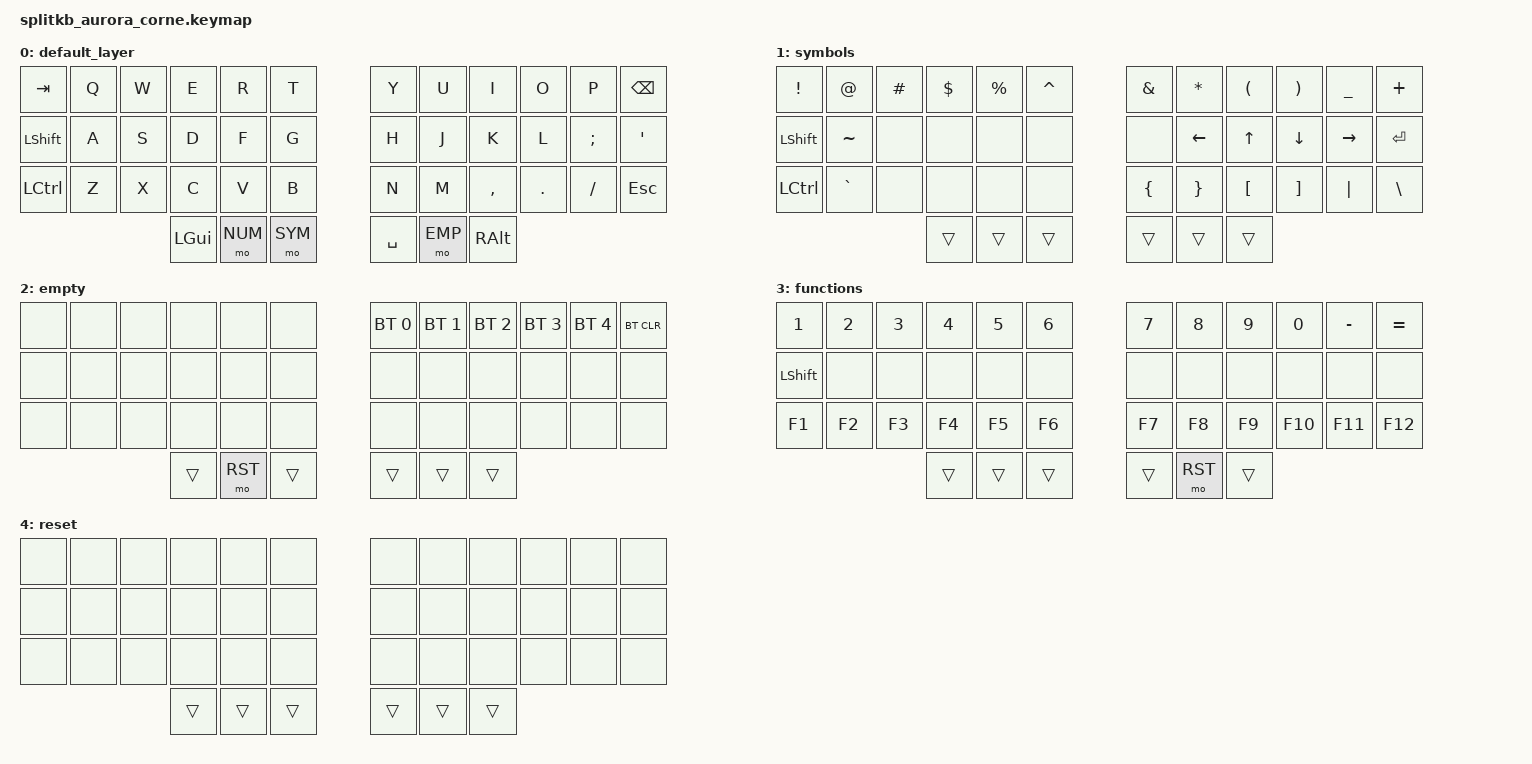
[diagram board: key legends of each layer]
/*
 * Copyright (c) 2020 The ZMK Contributors
 *
 * SPDX-License-Identifier: MIT
 */

#include <behaviors.dtsi>
#include <dt-bindings/zmk/keys.h>
#include <dt-bindings/zmk/bt.h>

// Layers
#define QWE 0
#define SYM 1
#define EMP 2
#define NUM 3
#define RST 4

#define XXX &none
#define ___ &trans
#define VVV &trans

/ {

  keymap {
    compatible = "zmk,keymap";

    default_layer {
      bindings = <
        //  ╭──────────────┬──────────────┬──────────────┬──────────────┬──────────────┬──────────────╮   ╭──────────────┬─────────────┬──────────────┬──────────────┬─────────────┬──────────────╮
                &kp TAB         &kp Q          &kp W         &kp E          &kp R          &kp T              &kp Y          &kp U         &kp I          &kp O          &kp P         &kp BSPC
        //  ├──────────────┬──────────────┬──────────────┬──────────────┬──────────────┬──────────────┤   ├──────────────┬─────────────┬──────────────┬──────────────┬─────────────┬──────────────┤
                &kp LSHFT       &kp A          &kp S         &kp D          &kp F          &kp G              &kp H          &kp J         &kp K          &kp L          &kp SEMI      &kp SQT
        //  ├──────────────┬──────────────┬──────────────┬──────────────┬──────────────┬──────────────┤   ├──────────────┬─────────────┬──────────────┬──────────────┬─────────────┬──────────────┤
                &kp LCTRL       &kp Z          &kp X         &kp C          &kp V          &kp B              &kp N          &kp M         &kp COMMA      &kp DOT        &kp SLASH     &kp ESC
        //  ╰────────────────────────────────────────────┬──────────────┬──────────────┬──────────────┤   ├──────────────┬─────────────┬──────────────┬───────────────────────────────────────────╯
                                                             &kp LGUI       &mo NUM        &mo SYM            &kp SPACE      &mo EMP       &kp RALT
        //                                               ╰────────────────────────────────────────────╯   ╰───────────────────────────────────────────╯
      >;    
    };

    symbols {
      bindings = <
        //  ╭──────────────┬──────────────┬──────────────┬──────────────┬──────────────┬──────────────╮   ╭──────────────┬─────────────┬──────────────┬──────────────┬─────────────┬──────────────╮
                &kp EXCL        &kp AT        &kp HASH       &kp DLLR      &kp PRCNT      &kp CARET          &kp AMPS       &kp ASTRK      &kp LPAR       &kp RPAR       &kp UNDER     &kp PLUS
        //  ├──────────────┬──────────────┬──────────────┬──────────────┬──────────────┬──────────────┤   ├──────────────┬─────────────┬──────────────┬──────────────┬─────────────┬──────────────┤
                &kp LSHFT     &kp TILDE         XXX            XXX            XXX            XXX                XXX          &kp LEFT      &kp UP         &kp DOWN       &kp RIGHT     &kp RET
        //  ├──────────────┬──────────────┬──────────────┬──────────────┬──────────────┬──────────────┤   ├──────────────┬─────────────┬──────────────┬──────────────┬─────────────┬──────────────┤
                &kp LCTRL     &kp GRAVE         XXX            XXX            XXX            XXX              &kp LBRC       &kp RBRC      &kp LBKT      &kp RBKT       &kp PIPE      &kp BSLH
        //  ╰────────────────────────────────────────────┬──────────────┬──────────────┬──────────────┤   ├──────────────┬─────────────┬──────────────┬───────────────────────────────────────────╯
                                                               ___            ___            VVV                ___            ___            ___
        //                                               ╰────────────────────────────────────────────╯   ╰───────────────────────────────────────────╯
      >;    
    };

    empty {
      bindings = <
        //  ╭──────────────┬──────────────┬──────────────┬──────────────┬──────────────┬──────────────╮   ╭──────────────┬─────────────┬──────────────┬──────────────┬─────────────┬──────────────╮
                  XXX           XXX             XXX            XXX            XXX            XXX            &bt BT_SEL 0   &bt BT_SEL 1  &bt BT_SEL 2   &bt BT_SEL 3   &bt BT_SEL 4   &bt BT_CLR 
        //  ├──────────────┬──────────────┬──────────────┬──────────────┬──────────────┬──────────────┤   ├──────────────┬─────────────┬──────────────┬──────────────┬─────────────┬──────────────┤
                  XXX           XXX             XXX            XXX            XXX            XXX                XXX           XXX             XXX            XXX          XXX            XXX
        //  ├──────────────┬──────────────┬──────────────┬──────────────┬──────────────┬──────────────┤   ├──────────────┬─────────────┬──────────────┬──────────────┬─────────────┬──────────────┤
                  XXX           XXX             XXX            XXX            XXX            XXX                XXX           XXX             XXX            XXX          XXX            XXX
        //  ╰────────────────────────────────────────────┬──────────────┬──────────────┬──────────────┤   ├──────────────┬─────────────┬──────────────┬───────────────────────────────────────────╯
                                                               ___            &mo RST        ___                ___           VVV             ___
        //                                               ╰────────────────────────────────────────────╯   ╰───────────────────────────────────────────╯
      >;    
    };

    functions {
      bindings = <
        //  ╭──────────────┬──────────────┬──────────────┬──────────────┬──────────────┬──────────────╮   ╭──────────────┬─────────────┬──────────────┬──────────────┬─────────────┬──────────────╮
                &kp N1          &kp N2          &kp N3         &kp N4         &kp N5         &kp N6             &kp N7        &kp N8          &kp N9        &kp N0      &kp MINUS      &kp EQUAL
        //  ├──────────────┬──────────────┬──────────────┬──────────────┬──────────────┬──────────────┤   ├──────────────┬─────────────┬──────────────┬──────────────┬─────────────┬──────────────┤
                &kp LSHFT        XXX             XXX            XXX            XXX            XXX                XXX           XXX             XXX           XXX           XXX           XXX
        //  ├──────────────┬──────────────┬──────────────┬──────────────┬──────────────┬──────────────┤   ├──────────────┬─────────────┬──────────────┬──────────────┬─────────────┬──────────────┤
                &kp F1          &kp F2          &kp F3         &kp F4         &kp F5         &kp F6             &kp F7        &kp F8          &kp F9        &kp F10      &kp F11      &kp F12
        //  ╰────────────────────────────────────────────┬──────────────┬──────────────┬──────────────┤   ├──────────────┬─────────────┬──────────────┬───────────────────────────────────────────╯
                                                                 ___          VVV            ___                ___          &mo RST         ___
        //                                               ╰────────────────────────────────────────────╯   ╰───────────────────────────────────────────╯
      >;    
    };

    reset {
      bindings = <
        //  ╭──────────────┬──────────────┬──────────────┬──────────────┬──────────────┬──────────────╮   ╭──────────────┬─────────────┬──────────────┬──────────────┬─────────────┬──────────────╮
                  XXX           XXX             XXX            XXX            XXX            XXX                XXX           XXX             XXX            XXX          XXX            XXX
        //  ├──────────────┬──────────────┬──────────────┬──────────────┬──────────────┬──────────────┤   ├──────────────┬─────────────┬──────────────┬──────────────┬─────────────┬──────────────┤
                  XXX           XXX             XXX            XXX            XXX            XXX                XXX           XXX             XXX            XXX          XXX            XXX
        //  ├──────────────┬──────────────┬──────────────┬──────────────┬──────────────┬──────────────┤   ├──────────────┬─────────────┬──────────────┬──────────────┬─────────────┬──────────────┤
                  XXX           XXX             XXX            XXX            XXX            XXX                XXX           XXX             XXX            XXX          XXX            XXX
        //  ╰────────────────────────────────────────────┬──────────────┬──────────────┬──────────────┤   ├──────────────┬─────────────┬──────────────┬───────────────────────────────────────────╯
                                                               ___            VVV            ___                 ___          VVV             ___
        //                                               ╰────────────────────────────────────────────╯   ╰───────────────────────────────────────────╯
      >;    
    };

  };
  
};
